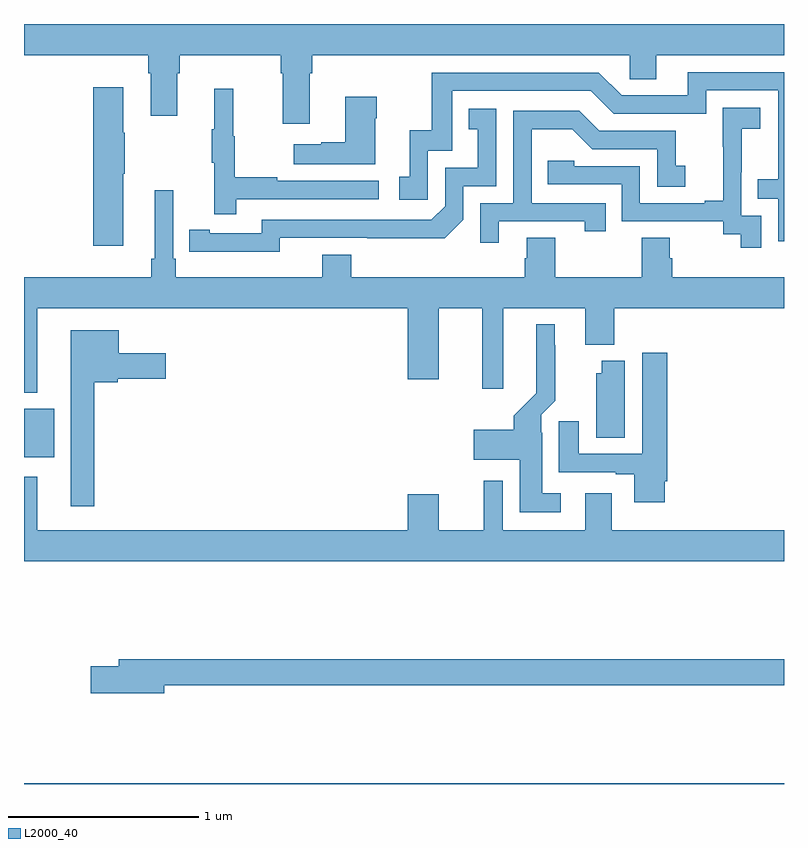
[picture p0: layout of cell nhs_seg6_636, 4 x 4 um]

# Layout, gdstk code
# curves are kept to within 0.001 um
import gdstk
lib = gdstk.Library(unit=1e-6, precision=1e-09)
def R(c, l, rs):  # rectangles x0, y0, x1, y1
    for r in rs: c.add(gdstk.rectangle(r[:2], r[2:], *l))
def P(c, l, *ps):  # polygons
    for p in ps: c.add(gdstk.Polygon(p, *l))
L2000_40 = (2000, 40)

nhs_seg6_636 = lib.new_cell('nhs_seg6_636')
R(nhs_seg6_636, L2000_40, [(151,943.5,155,943.504), (151,945.221,151.159,945.475)])
P(nhs_seg6_636, L2000_40, [(152.503,947.24),(152.516,947.24),(152.516,947.336),(154.188,947.336),(154.188,947.209),(154.327,947.209),(154.327,947.336),(155,947.336),(155,947.5),(151,947.5),(151,947.336),(151.655,947.336),(151.655,947.24),(151.667,947.24),(151.667,947.016),(151.807,947.016),(151.807,947.24),(151.82,947.24),(151.82,947.336),(152.351,947.336),(152.351,947.24),(152.363,947.24),(152.363,946.974),(152.503,946.974)],
  [(155,947.247),(154.493,947.247),(154.493,947.124),(154.146,947.124),(154.026,947.244),(153.147,947.244),(153.147,946.942),(153.029,946.942),(153.029,946.695),(152.976,946.695),(152.976,946.575),(153.126,946.575),(153.126,946.833),(153.255,946.833),(153.255,947.148),(153.984,947.148),(154.104,947.028),(154.59,947.028),(154.59,947.151),(154.971,947.151),(154.971,946.682),(154.861,946.682),(154.861,946.581),(154.971,946.581),(154.971,946.356),(155,946.356)],
  [(151.522,946.711),(151.53,946.711),(151.53,946.928),(151.522,946.928),(151.522,947.167),(151.364,947.167),(151.364,946.332),(151.522,946.332)],
  [(152.117,946.578),(152.866,946.578),(152.866,946.674),(152.333,946.674),(152.333,946.694),(152.11,946.694),(152.11,946.908),(152.102,946.908),(152.102,947.158),(152,947.158),(152,946.945),(151.989,946.945),(151.989,946.771),(152,946.771),(152,946.5),(152.117,946.5)],
  [(152.848,947.003),(152.856,947.003),(152.856,947.116),(152.69,947.116),(152.69,946.877),(152.564,946.877),(152.564,946.867),(152.421,946.867),(152.421,946.763),(152.848,946.763)],
  [(154.881,946.491),(154.776,946.491),(154.776,946.721),(154.778,946.721),(154.778,946.949),(154.876,946.949),(154.876,947.059),(154.678,947.059),(154.678,946.853),(154.679,946.853),(154.679,946.57),(154.583,946.57),(154.583,946.557),(154.242,946.557),(154.242,946.752),(153.897,946.752),(153.897,946.779),(153.757,946.779),(153.757,946.656),(154.146,946.656),(154.146,946.461),(154.68,946.461),(154.68,946.393),(154.773,946.393),(154.773,946.323),(154.881,946.323)],
  [(152.346,946.374),(153.214,946.373),(153.312,946.47),(153.312,946.647),(153.486,946.647),(153.486,947.053),(153.34,947.053),(153.34,946.947),(153.389,946.947),(153.389,946.743),(153.216,946.743),(153.216,946.542),(153.144,946.47),(152.25,946.47),(152.25,946.398),(151.978,946.398),(151.978,946.418),(151.87,946.418),(151.87,946.302),(152.346,946.301)],
  [(153.499,946.461),(153.95,946.461),(153.95,946.41),(154.061,946.41),(154.061,946.557),(153.672,946.557),(153.672,946.946),(153.886,946.946),(153.99,946.842),(154.332,946.842),(154.332,946.644),(154.48,946.644),(154.48,946.753),(154.431,946.753),(154.431,946.938),(154.027,946.938),(153.922,947.043),(153.576,947.043),(153.576,946.557),(153.402,946.557),(153.402,946.35),(153.499,946.35)],
  [(151.069,946.004),(153.02,946.004),(153.02,945.63),(153.184,945.63),(153.184,946.004),(153.413,946.004),(153.413,945.579),(153.523,945.579),(153.523,946.004),(153.953,946.004),(153.953,945.812),(154.106,945.812),(154.106,946.004),(155,946.004),(155,946.168),(154.412,946.168),(154.412,946.266),(154.399,946.266),(154.399,946.376),(154.252,946.376),(154.252,946.168),(153.795,946.168),(153.795,946.376),(153.647,946.376),(153.647,946.266),(153.635,946.266),(153.635,946.168),(152.723,946.168),(152.723,946.285),(152.57,946.285),(152.57,946.168),(151.799,946.168),(151.799,946.264),(151.785,946.264),(151.785,946.624),(151.688,946.624),(151.688,946.264),(151.669,946.264),(151.669,946.168),(151,946.168),(151,945.56),(151.069,945.56)],
  [(153.826,945.031),(153.727,945.031),(153.727,945.35),(153.723,945.35),(153.723,945.444),(153.797,945.518),(153.797,945.809),(153.793,945.809),(153.793,945.919),(153.695,945.919),(153.696,945.556),(153.578,945.438),(153.578,945.364),(153.366,945.364),(153.366,945.206),(153.608,945.206),(153.608,944.93),(153.826,944.93)],
  [(151.369,945.614),(151.494,945.614),(151.494,945.632),(151.747,945.632),(151.747,945.766),(151.498,945.766),(151.498,945.889),(151.247,945.889),(151.247,944.961),(151.369,944.961)],
  [(154.372,945.094),(154.385,945.094),(154.385,945.769),(154.253,945.769),(154.253,945.237),(153.919,945.237),(153.919,945.409),(153.815,945.409),(153.815,945.141),(154.115,945.141),(154.115,945.129),(154.211,945.129),(154.211,944.982),(154.372,944.982)],
  [(154.162,945.727),(154.04,945.727),(154.04,945.663),(154.013,945.663),(154.013,945.322),(154.162,945.322)],
  [(155,944.836),(154.093,944.836),(154.093,945.031),(153.953,945.031),(153.953,944.836),(153.519,944.836),(153.519,945.097),(153.421,945.097),(153.421,944.836),(153.184,944.836),(153.184,945.025),(153.02,945.025),(153.02,944.836),(151.069,944.836),(151.069,945.118),(151,945.118),(151,944.672),(155,944.672)],
  [(151.738,944.02),(155,944.02),(155,944.156),(151.499,944.156),(151.499,944.12),(151.35,944.12),(151.35,943.978),(151.738,943.978)])

lib.write_gds('nhs_seg6_636.gds')
